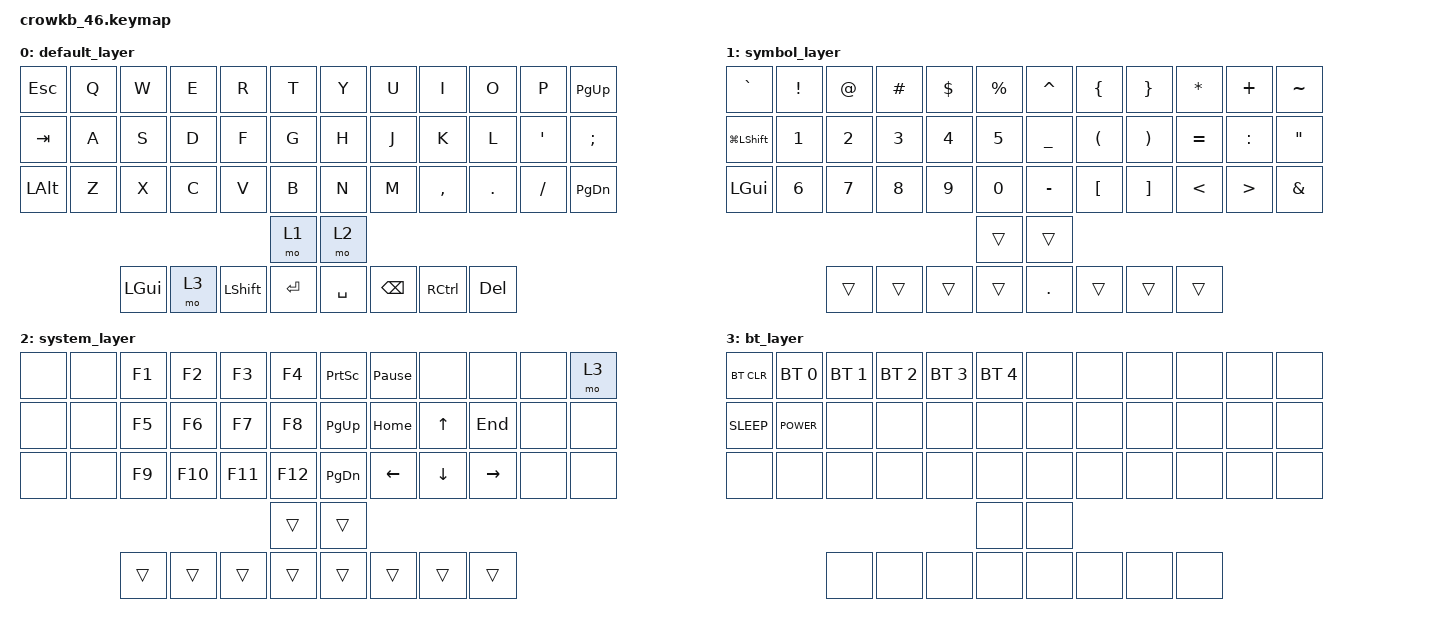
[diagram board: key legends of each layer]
#include <behaviors.dtsi>
#include <dt-bindings/zmk/bt.h>
#include <dt-bindings/zmk/keys.h>

#define DEFAULT 0
#define SYMNUM  1
#define SYSTEM  2
#define BT      3

/ {
    keymap {
        compatible = "zmk,keymap";

        default_layer {
            bindings = <
&kp ESC       &kp Q  &kp W         &kp E  &kp R           &kp T        &kp Y      &kp U          &kp I              &kp O    &kp P     &kp PG_UP
&kp TAB       &kp A  &kp S         &kp D  &kp F           &kp G        &kp H      &kp J          &kp K              &kp L    &kp APOS  &kp SEMICOLON
&kp LEFT_ALT  &kp Z  &kp X         &kp C  &kp V           &kp B        &kp N      &kp M          &kp COMMA          &kp DOT  &kp FSLH  &kp PAGE_DOWN
                                                          &mo 1        &mo 2
                     &kp LEFT_GUI  &mo 3  &kp LEFT_SHIFT  &kp ENTER    &kp SPACE  &kp BACKSPACE  &kp RIGHT_CONTROL  &kp DEL
            >;
        };

        symbol_layer {
            bindings = <
&kp GRAVE      &kp EXCL  &kp AT  &kp HASH  &kp DLLR  &kp PRCNT    &kp CARET  &kp LBRC  &kp RBRC  &kp STAR   &kp PLUS   &kp TILDE
&kp LG(LSHFT)  &kp N1    &kp N2  &kp N3    &kp N4    &kp N5       &kp UNDER  &kp LPAR  &kp RPAR  &kp EQUAL  &kp COLON  &kp DQT
&kp LGUI       &kp N6    &kp N7  &kp N8    &kp N9    &kp N0       &kp MINUS  &kp LBKT  &kp RBKT  &kp LT     &kp GT     &kp AMPS
                                                     &trans       &trans
                         &trans  &trans    &trans    &trans       &kp DOT    &trans    &trans    &trans
            >;
        };

        system_layer {
            bindings = <
&none  &none  &kp F1  &kp F2   &kp F3   &kp F4     &kp PSCRN  &kp PAUSE_BREAK  &none     &none      &none  &mo 3
&none  &none  &kp F5  &kp F6   &kp F7   &kp F8     &kp PG_UP  &kp HOME         &kp UP    &kp END    &none  &none
&none  &none  &kp F9  &kp F10  &kp F11  &kp F12    &kp PG_DN  &kp LEFT         &kp DOWN  &kp RIGHT  &none  &none
                                        &trans     &trans
              &trans  &trans   &trans   &trans     &trans     &trans           &trans    &trans
            >;
        };

        bt_layer {
            bindings = <
&bt BT_CLR   &bt BT_SEL 0  &bt BT_SEL 1  &bt BT_SEL 2  &bt BT_SEL 3  &bt BT_SEL 4    &none  &none  &none  &none  &none  &none
&kp C_SLEEP  &kp K_POWER   &none         &none         &none         &none           &none  &none  &none  &none  &none  &none
&none        &none         &none         &none         &none         &none           &none  &none  &none  &none  &none  &none
                                                                     &none           &none
                           &none         &none         &none         &none           &none  &none  &none  &none
            >;
        };
    };
};
